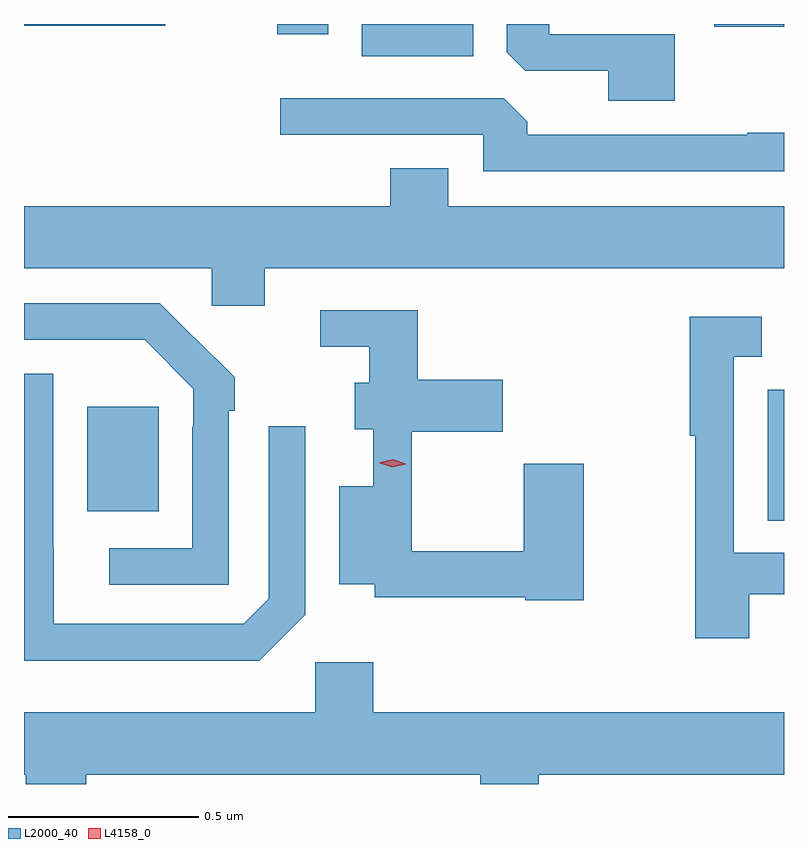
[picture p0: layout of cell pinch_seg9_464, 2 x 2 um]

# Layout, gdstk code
import gdstk
lib = gdstk.Library(unit=1e-6, precision=1e-09)
def R(c, l, rs):  # rectangles x0, y0, x1, y1
    for r in rs: c.add(gdstk.rectangle(r[:2], r[2:], *l))
def P(c, l, *ps):  # polygons
    for p in ps: c.add(gdstk.Polygon(p, *l))
L2000_40 = (2000, 40)
L4158_0 = (4158, 0)

pinch_seg9_464 = lib.new_cell('pinch_seg9_464')
R(pinch_seg9_464, L2000_40, [(216.824,1205.08,216.867,1205.424), (215.033,1205.105,215.221,1205.38), (215.756,1206.302,216.049,1206.387), (215.534,1206.36,215.668,1206.387), (216.684,1206.38,216.867,1206.387), (214.867,1206.382,215.239,1206.387)])
P(pinch_seg9_464, L2000_40, [(216.58,1206.36),(216.249,1206.36),(216.249,1206.387),(216.137,1206.387),(216.137,1206.313),(216.186,1206.264),(216.404,1206.264),(216.404,1206.185),(216.58,1206.185)],
  [(216.867,1206.101),(216.77,1206.101),(216.77,1206.096),(216.191,1206.096),(216.191,1206.13),(216.129,1206.192),(215.541,1206.192),(215.541,1206.096),(216.075,1206.096),(216.075,1206),(216.867,1206)],
  [(215.5,1205.744),(216.867,1205.744),(216.867,1205.908),(215.983,1205.908),(215.983,1206.007),(215.831,1206.007),(215.831,1205.908),(214.867,1205.908),(214.867,1205.744),(215.361,1205.744),(215.361,1205.646),(215.5,1205.646)],
  [(215.406,1205.369),(215.421,1205.369),(215.421,1205.457),(215.316,1205.562),(215.315,1205.561),(215.224,1205.652),(214.867,1205.652),(214.867,1205.556),(215.185,1205.556),(215.313,1205.427),(215.313,1205.327),(215.31,1205.327),(215.31,1205.007),(215.091,1205.007),(215.091,1204.911),(215.406,1204.911)],
  [(216.34,1205.23),(216.182,1205.23),(216.182,1204.999),(215.888,1204.999),(215.888,1205.314),(216.127,1205.314),(216.127,1205.451),(215.903,1205.451),(215.903,1205.634),(215.646,1205.634),(215.646,1205.538),(215.775,1205.538),(215.775,1205.443),(215.738,1205.443),(215.738,1205.321),(215.786,1205.321),(215.786,1205.17),(215.696,1205.17),(215.696,1204.913),(215.79,1204.913),(215.79,1204.878),(216.186,1204.878),(216.186,1204.87),(216.34,1204.87)],
  [(216.775,1204.887),(216.867,1204.887),(216.867,1204.995),(216.735,1204.995),(216.735,1205.511),(216.808,1205.511),(216.808,1205.617),(216.619,1205.617),(216.619,1205.304),(216.634,1205.304),(216.634,1204.77),(216.775,1204.77)],
  [(215.607,1204.833),(215.607,1205.329),(215.511,1205.329),(215.511,1204.875),(215.445,1204.809),(214.945,1204.809),(214.945,1205.009),(214.944,1205.009),(214.944,1205.466),(214.867,1205.466),(214.867,1204.712),(215.486,1204.712)],
  [(215.031,1204.412),(216.068,1204.412),(216.068,1204.387),(216.221,1204.387),(216.221,1204.412),(216.867,1204.412),(216.867,1204.576),(215.786,1204.576),(215.786,1204.708),(215.634,1204.708),(215.634,1204.576),(214.867,1204.576),(214.867,1204.412),(214.871,1204.412),(214.871,1204.387),(215.031,1204.387)])
P(pinch_seg9_464, L4158_0, [(215.836,1205.221),(215.801,1205.232),(215.8,1205.232),(215.801,1205.232),(215.837,1205.241),(215.872,1205.23),(215.872,1205.229),(215.872,1205.229)])

lib.write_gds('pinch_seg9_464.gds')
